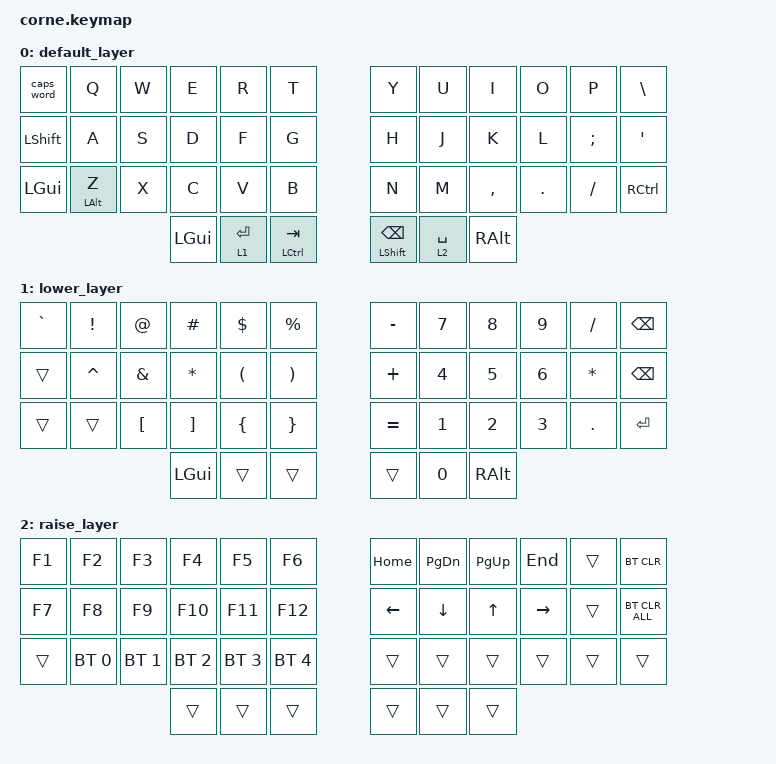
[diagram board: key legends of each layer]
/*
 * Copyright (c) 2020 The ZMK Contributors
 *
 * SPDX-License-Identifier: MIT
 */

#include <behaviors.dtsi>
#include <dt-bindings/zmk/bt.h>
#include <dt-bindings/zmk/keys.h>

/ {
    keymap {
        compatible = "zmk,keymap";

        default_layer {
            bindings = <
&caps_word  &kp Q       &kp W  &kp E     &kp R      &kp T            &kp Y           &kp U        &kp I      &kp O    &kp P     &kp BSLH
&kp LSHFT   &kp A       &kp S  &kp D     &kp F      &kp G            &kp H           &kp J        &kp K      &kp L    &kp SEMI  &kp SQT
&kp LGUI    &mt LALT Z  &kp X  &kp C     &kp V      &kp B            &kp N           &kp M        &kp COMMA  &kp DOT  &kp FSLH  &kp RCTRL
                               &kp LGUI  &lt 1 RET  &mt LCTRL TAB    &mt LSHFT BSPC  &lt 2 SPACE  &kp RALT
            >;
        };

        lower_layer {
            bindings = <
&kp GRAVE  &kp EXCL   &kp AT    &kp HASH   &kp DLLR  &kp PRCNT    &kp MINUS  &kp N7  &kp N8    &kp N9  &kp FSLH   &kp BSPC
&trans     &kp CARET  &kp AMPS  &kp ASTRK  &kp LPAR  &kp RPAR     &kp PLUS   &kp N4  &kp N5    &kp N6  &kp ASTRK  &kp BSPC
&trans     &trans     &kp LBKT  &kp RBKT   &kp LBRC  &kp RBRC     &kp EQUAL  &kp N1  &kp N2    &kp N3  &kp DOT    &kp RET
                                &kp LGUI   &trans    &trans       &trans     &kp N0  &kp RALT
            >;
        };

        raise_layer {
            bindings = <
&kp F1  &kp F2        &kp F3        &kp F4        &kp F5        &kp F6          &kp HOME  &kp PG_DN  &kp PG_UP  &kp END    &trans  &bt BT_CLR
&kp F7  &kp F8        &kp F9        &kp F10       &kp F11       &kp F12         &kp LEFT  &kp DOWN   &kp UP     &kp RIGHT  &trans  &bt BT_CLR_ALL
&trans  &bt BT_SEL 0  &bt BT_SEL 1  &bt BT_SEL 2  &bt BT_SEL 3  &bt BT_SEL 4    &trans    &trans     &trans     &trans     &trans  &trans
                                    &trans        &trans        &trans          &trans    &trans     &trans
            >;
        };
    };

    combos {
        compatible = "zmk,combos";

        combo_esc {
            timeout-ms = <50>;
            key-positions = <15 16>;
            bindings = <&kp ESC>;
        };
    };
};
